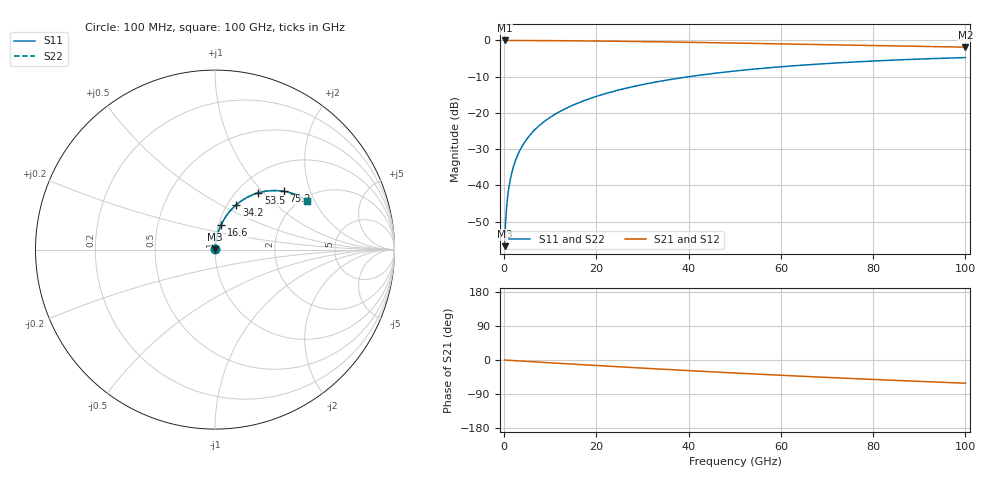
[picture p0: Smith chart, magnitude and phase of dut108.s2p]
! Touchstone file exported from HFSS 2026.1.0
!  File:  C:/ffzhzh/LocalFiles/Ansys_Project_Files/temp_train_RDL_108_1783499257_31944.aedt
!  Generated:  04:28:41 PM Jul  8, 2026
!  Design:  RDL
!  Project:  temp_train_RDL_108_1783499257_31944
! Variables:
!  h_bsmrdl = 2um
!  h_ox = 20um
!  h_rdl = 5um
!  h_sub = 80um
!  h_tmrdl = 4.24um
!  h_tsv = 80um
!  h_via = 3um
!  l_bsmrdl = 300um
!  l_sub = 561.81um
!  l_tmrdl = 161.81um
!  m_sub = 200um
!  pitch = 43.95um
!  r_tsv = 6um
!  s_tmrdl = 10um
!  w_bsmrdl = 18um
!  w_sub = 500um
!  w_tmrdl = 13.89um
!  x_tsv_center1 = 168.755um
!  x_tsv_center2 = 486.755um
!  x_tsv_center3 = 662.455um
!  x_tsv_center4 = 980.455um
!  x_tsv_center5 = 1156.155um
!  x_tsv_center6 = 1474.155um
# GHz S MA R 50.000000
! Terminal data exported
! Port[1] = TM_RDL1_1_T1
! Port[2] = TM_RDL1_1_T2
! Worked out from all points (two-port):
!   1000 points, 100 MHz to 100 GHz, reference 50 ohm
!   highest |S21| = -0.01 dB at 100 MHz (marker M1); lowest = -1.9 dB at 100 GHz (marker M2)
!   |S21| within 3 dB of the highest: start of sweep to end of sweep
!   lowest |S11| = -56.8 dB at 100 MHz (marker M3), VSWR 1.00, Z = 50.1 + j0.0941 ohm
!   |S11| at or under -10 dB: start of sweep to 40.04 GHz
!   |S22| runs from -56.8 to -4.7 dB; largest |S21 - S12| = 1.1e-14
!   S11 on the Smith chart (normalised r, x): 100 MHz: 1.00, +0.00; 16.6 GHz: 1.03, +0.29; 34.2 GHz: 1.10, +0.59; 53.5 GHz: 1.25, +0.94; 75.2 GHz: 1.53, +1.33; 100 GHz: 2.12, +1.75
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0.1  0.001454 40.2  0.9989 -0.1  0.9989 -0.1  0.001454 40.2
! Gamma 0 0 0 0
! Port Impedance 50 0 50 0
0.4  0.003871 71.7  0.9988 -0.3  0.9988 -0.3  0.003871 71.7
0.8  0.007359 79.4  0.9987 -0.6  0.9987 -0.6  0.007359 79.4
1.1  0.01 81.6  0.9986 -0.8  0.9986 -0.8  0.01 81.6
1.4  0.01266 82.8  0.9986 -1.1  0.9986 -1.1  0.01266 82.8
1.9  0.0171 83.8  0.9984 -1.4  0.9984 -1.4  0.0171 83.8
2.4  0.02153 84.2  0.9983 -1.8  0.9983 -1.8  0.02153 84.2
3.9  0.03476 84.1  0.9976 -2.9  0.9976 -2.9  0.03476 84.1
6  0.05303 83.1  0.9963 -4.5  0.9963 -4.5  0.05303 83.1
8.8  0.07699 81.3  0.9941 -6.5  0.9941 -6.5  0.07699 81.3
12.3  0.1064 79.0  0.9908 -9.0  0.9908 -9.0  0.1064 79.0
16.6  0.1418 76.2  0.9857 -12.1  0.9857 -12.1  0.1418 76.2
16.8  0.1434 76.1  0.9855 -12.2  0.9855 -12.2  0.1434 76.1
24.2  0.2022 71.1  0.9744 -17.4  0.9744 -17.4  0.2022 71.2
33.4  0.2705 65.1  0.957 -23.7  0.957 -23.7  0.2705 65.1
34.2  0.2762 64.6  0.9553 -24.2  0.9553 -24.2  0.2762 64.6
50.1  0.379 54.6  0.9188 -34.4  0.9188 -34.4  0.379 54.6
53.5  0.3984 52.6  0.9105 -36.5  0.9105 -36.5  0.3984 52.6
66.7  0.4654 45.0  0.8781 -44.2  0.8781 -44.2  0.4654 45.0
75.2  0.5016 40.4  0.858 -48.8  0.858 -48.8  0.5016 40.4
83.4  0.5319 36.2  0.8397 -53.1  0.8397 -53.1  0.5319 36.2
100  0.5801 28.1  0.8073 -61.3  0.8073 -61.3  0.5801 28.1
